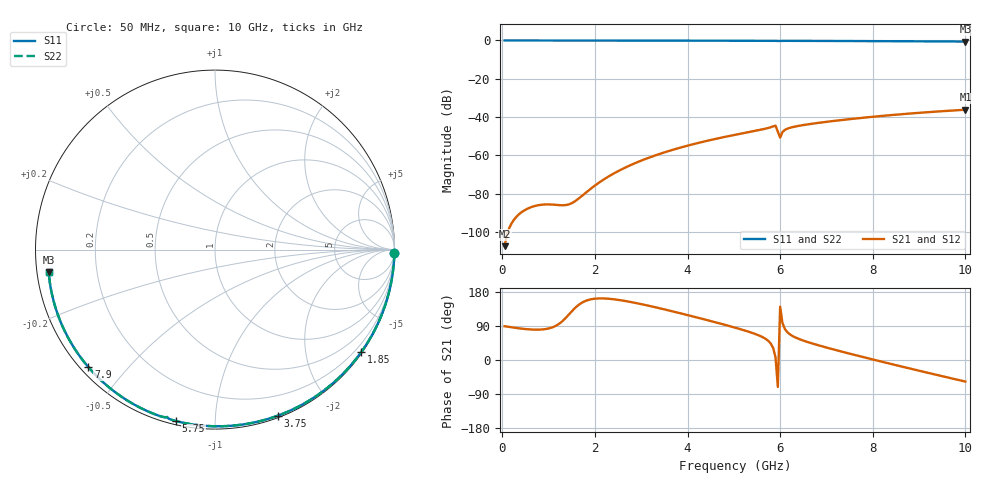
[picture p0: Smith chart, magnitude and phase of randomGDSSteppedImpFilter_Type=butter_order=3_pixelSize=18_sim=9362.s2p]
! freq	dB(S11)	phase(S11)	dB(S12)	phase(S12)
!  dB(S21)	phase(S21)	dB(S22)	phase(S22)
!S-par simulation data
#  GHz  S  DB  R 50
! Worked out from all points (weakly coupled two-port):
!   200 points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, 50 MHz to 10 GHz, reference 50 ohm
!   highest |S21| = -36.20 dB at 10 GHz (marker M1); lowest = -107.5 dB at 50 MHz (marker M2)
!   lowest |S11| = -0.6 dB at 10 GHz (marker M3), VSWR 29.88, Z = 1.68 - j3.39 ohm
!   |S11| at or under -10 dB: nowhere
!   |S22| runs from -0.6 to 0.0 dB; largest |S21 - S12| = 0
!   S11 on the Smith chart (normalised r, x): 50 MHz: open; 1.85 GHz: 0.03, -3.16; 3.75 GHz: 0.02, -1.45; 5.75 GHz: 0.02, -0.80; 7.9 GHz: 0.02, -0.39; 10 GHz: 0.03, -0.07
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0.05  -0.00 -1.0  -107.49 89.1  -107.49 89.1  -0.00 -1.0
0.85  -0.02 -16.3  -85.82 80.5  -85.82 80.5  -0.02 -16.3
1.75  -0.04 -33.3  -80.63 153.2  -80.63 153.2  -0.04 -33.3
1.85  -0.04 -35.1  -78.64 158.1  -78.64 158.1  -0.04 -35.1
2.15  -0.05 -40.7  -73.28 162.6  -73.28 162.6  -0.05 -40.7
2.5  -0.06 -47.1  -68.30 158.8  -68.30 158.8  -0.06 -47.1
2.9  -0.07 -54.3  -63.78 150.0  -63.78 150.0  -0.07 -54.3
3.4  -0.08 -63.2  -59.28 136.5  -59.28 136.5  -0.08 -63.2
3.75  -0.09 -69.3  -56.65 126.2  -56.65 126.2  -0.09 -69.3
4.4  -0.12 -80.4  -52.56 106.1  -52.56 106.1  -0.12 -80.4
5.05  -0.14 -91.3  -49.19 84.6  -49.19 84.6  -0.14 -91.3
5.75  -0.18 -102.8  -45.68 49.8  -45.68 49.8  -0.18 -102.8
5.9  -0.21 -105.4  -44.52 6.7  -44.52 6.7  -0.21 -105.4
6  -0.23 -106.5  -50.76 140.8  -50.76 140.8  -0.23 -106.5
6.05  -0.21 -107.4  -47.90 97.4  -47.90 97.4  -0.21 -107.4
6.15  -0.20 -109.1  -46.14 74.1  -46.14 74.1  -0.20 -109.0
6.35  -0.21 -112.3  -44.85 58.3  -44.85 58.3  -0.21 -112.3
6.7  -0.23 -117.9  -43.48 43.3  -43.48 43.3  -0.23 -117.9
7.9  -0.33 -137.1  -40.11 4.4  -40.11 4.4  -0.33 -137.1
8.35  -0.38 -144.3  -39.10 -9.1  -39.10 -9.1  -0.38 -144.3
9.2  -0.47 -158.4  -37.46 -34.1  -37.46 -34.1  -0.47 -158.4
10  -0.58 -172.2  -36.20 -56.9  -36.20 -56.9  -0.58 -172.2
